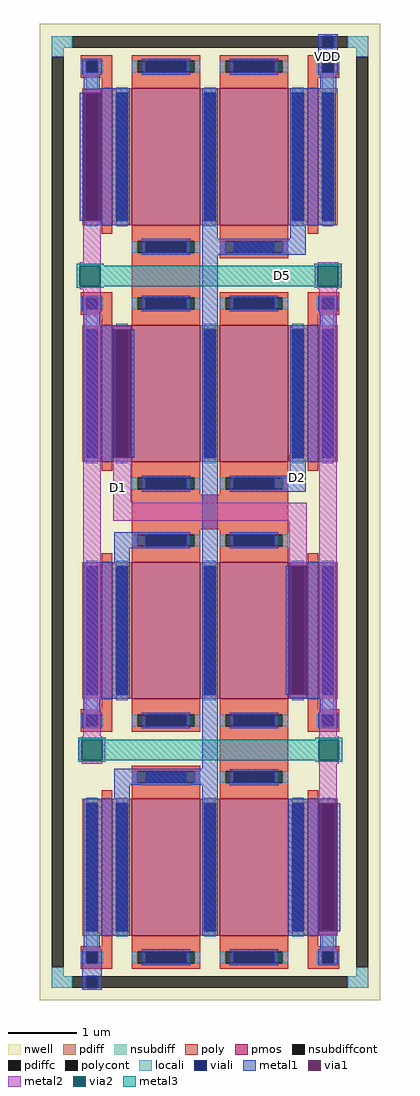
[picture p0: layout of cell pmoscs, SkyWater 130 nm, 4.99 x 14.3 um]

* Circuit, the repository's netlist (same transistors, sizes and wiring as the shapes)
** sch_path: /home/fauzann/opamp/mag/pmoscs.sch
.subckt pmoscs VDD D5 D2 D1
*.PININFO VDD:B D5:B D2:B D1:B
XM1 D1 D2 VDD VDD sky130_fd_pr__pfet_01v8 L=1 W=2 nf=1 m=2
XM2 D2 D2 VDD VDD sky130_fd_pr__pfet_01v8 L=1 W=2 nf=1 m=2
XM5 D5 D2 VDD VDD sky130_fd_pr__pfet_01v8 L=1 W=2 nf=1 m=2
XM3 VDD VDD VDD VDD sky130_fd_pr__pfet_01v8 L=1 W=2 nf=1 m=2
XM4 VDD VDD VDD VDD sky130_fd_pr__pfet_01v8 L=0.15 W=2 nf=1 m=2
XM6 D2 D2 D2 VDD sky130_fd_pr__pfet_01v8 L=0.15 W=2 nf=1 m=2
XM7 D1 D1 D1 VDD sky130_fd_pr__pfet_01v8 L=0.15 W=2 nf=1 m=2
XM8 D5 D5 D5 VDD sky130_fd_pr__pfet_01v8 L=0.15 W=2 nf=1 m=2
.ends
.end

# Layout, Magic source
magic
tech sky130A
magscale 1 2
<< nwell >>
rect -176 -690 822 2170
<< nsubdiff >>
rect -140 2100 -80 2134
rect 726 2100 786 2134
rect -140 2074 -106 2100
rect 752 2074 786 2100
rect -140 -620 -106 -594
rect 752 -620 786 -594
rect -140 -654 -80 -620
rect 726 -654 786 -620
<< nsubdiffcont >>
rect -80 2100 726 2134
rect -140 -594 -106 2074
rect 752 -594 786 2074
rect -80 -654 726 -620
<< poly >>
rect -56 2062 36 2078
rect -56 2028 -40 2062
rect -6 2028 36 2062
rect -56 2012 36 2028
rect 6 1981 36 2012
rect 610 2062 702 2078
rect 610 2028 652 2062
rect 686 2028 702 2062
rect 610 2012 702 2028
rect 610 2004 640 2012
rect -56 1368 36 1384
rect 94 1383 294 1485
rect -56 1334 -40 1368
rect -6 1334 36 1368
rect -56 1318 36 1334
rect 6 1287 36 1318
rect 610 1368 702 1384
rect 610 1334 652 1368
rect 686 1334 702 1368
rect 610 1318 702 1334
rect 610 1287 640 1318
rect 94 690 552 790
rect 6 162 36 193
rect -56 146 36 162
rect -56 112 -40 146
rect -6 112 36 146
rect -56 96 36 112
rect 610 162 640 193
rect 610 146 702 162
rect 610 112 652 146
rect 686 112 702 146
rect 610 96 702 112
rect 352 -4 552 96
rect 6 -532 36 -501
rect -56 -548 36 -532
rect -56 -582 -40 -548
rect -6 -582 36 -548
rect -56 -598 36 -582
rect 610 -532 640 -501
rect 610 -548 702 -532
rect 610 -582 652 -548
rect 686 -582 702 -548
rect 610 -598 702 -582
<< polycont >>
rect -40 2028 -6 2062
rect 652 2028 686 2062
rect -40 1334 -6 1368
rect 652 1334 686 1368
rect -40 112 -6 146
rect 652 112 686 146
rect -40 -582 -6 -548
rect 652 -582 686 -548
<< locali >>
rect -140 2100 -80 2134
rect 726 2100 786 2134
rect -140 2074 -106 2100
rect 752 2074 786 2100
rect -56 2028 -40 2062
rect -6 2028 10 2062
rect 636 2028 652 2062
rect 686 2028 702 2062
rect -40 1981 -6 2028
rect 652 1975 686 2028
rect -56 1334 -40 1368
rect -6 1334 10 1368
rect 636 1334 652 1368
rect 686 1334 702 1368
rect -40 1287 -6 1334
rect 652 1287 686 1334
rect -40 146 -6 193
rect 652 146 686 193
rect -56 112 -40 146
rect -6 112 10 146
rect 636 112 652 146
rect 686 112 702 146
rect -40 -548 -6 -501
rect 652 -548 686 -501
rect -56 -582 -40 -548
rect -6 -582 10 -548
rect 636 -582 652 -548
rect 686 -582 702 -548
rect -140 -620 -106 -594
rect 752 -620 786 -594
rect -140 -654 -80 -620
rect 726 -654 786 -620
<< viali >>
rect 652 2100 686 2134
rect -40 2028 -6 2062
rect 652 2028 686 2062
rect -40 1334 -6 1368
rect 652 1334 686 1368
rect -40 112 -6 146
rect 652 112 686 146
rect -40 -582 -6 -548
rect 652 -582 686 -548
rect -40 -654 -6 -620
<< metal1 >>
rect 640 2134 698 2140
rect 640 2100 652 2134
rect 686 2100 698 2134
rect -52 2062 6 2068
rect -52 2028 -40 2062
rect -6 2028 6 2062
rect -52 2022 6 2028
rect 640 2062 698 2100
rect 640 2028 652 2062
rect 686 2028 698 2062
rect 640 2022 698 2028
rect -47 1981 0 2022
rect 646 1981 693 2022
rect -47 1969 88 1981
rect -59 1593 -49 1969
rect 3 1593 88 1969
rect -46 1581 88 1593
rect 300 1540 346 1981
rect 558 1968 693 1981
rect 558 1581 692 1968
rect 558 1540 604 1581
rect 300 1494 604 1540
rect -52 1368 6 1374
rect -52 1334 -40 1368
rect -6 1334 6 1368
rect -52 1328 6 1334
rect -47 1287 0 1328
rect -40 1276 94 1287
rect -40 1275 101 1276
rect -40 899 39 1275
rect 91 899 101 1275
rect -40 887 94 899
rect 42 634 134 680
rect 42 593 88 634
rect -46 193 88 593
rect -47 152 0 193
rect -52 146 6 152
rect -52 112 -40 146
rect -6 112 6 146
rect -52 106 6 112
rect 300 -13 346 1494
rect 640 1368 698 1374
rect 640 1334 652 1368
rect 686 1334 698 1368
rect 640 1328 698 1334
rect 646 1287 693 1328
rect 558 911 692 1287
rect 557 887 692 911
rect 557 846 603 887
rect 515 800 603 846
rect 558 582 692 593
rect 545 205 555 582
rect 607 205 692 582
rect 558 193 692 205
rect 646 152 693 193
rect 640 146 698 152
rect 640 112 652 146
rect 686 112 698 146
rect 640 106 698 112
rect 42 -59 346 -13
rect 42 -101 88 -59
rect -47 -109 88 -101
rect -47 -110 87 -109
rect -47 -501 88 -110
rect 300 -501 346 -59
rect 552 -113 688 -101
rect 552 -489 643 -113
rect 695 -489 705 -113
rect 552 -501 693 -489
rect -47 -542 0 -501
rect 646 -542 693 -501
rect -52 -548 6 -542
rect -52 -582 -40 -548
rect -6 -582 6 -548
rect -52 -620 6 -582
rect 640 -548 698 -542
rect 640 -582 652 -548
rect 686 -582 698 -548
rect 640 -588 698 -582
rect -52 -654 -40 -620
rect -6 -654 6 -620
rect -52 -660 6 -654
<< via1 >>
rect -49 1593 3 1969
rect 39 899 91 1275
rect 555 205 607 582
rect 643 -489 695 -113
<< metal2 >>
rect -49 1969 3 1979
rect -49 1472 3 1593
rect -58 1462 3 1472
rect 639 1462 699 1472
rect 2 1402 3 1462
rect 630 1402 639 1462
rect 699 1402 708 1462
rect -58 1392 3 1402
rect 639 1392 699 1402
rect -49 83 3 1392
rect 39 1275 91 1285
rect 91 899 92 912
rect 39 889 92 899
rect 40 767 92 889
rect 40 715 607 767
rect 555 582 607 715
rect 555 195 607 205
rect 643 83 695 1392
rect -53 73 7 83
rect 641 73 701 83
rect -62 13 -53 73
rect 7 13 16 73
rect -53 3 7 13
rect 641 3 701 13
rect 643 -113 695 3
rect 643 -499 695 -489
<< via2 >>
rect -58 1402 2 1462
rect 639 1402 699 1462
rect -53 13 7 73
rect 641 13 701 73
<< metal3 >>
rect -68 1462 12 1467
rect 629 1462 709 1467
rect -68 1402 -58 1462
rect 2 1402 639 1462
rect 699 1402 709 1462
rect -68 1397 12 1402
rect 629 1397 709 1402
rect -63 73 17 78
rect 631 73 711 78
rect -63 13 -53 73
rect 7 13 641 73
rect 701 13 711 73
rect -63 8 17 13
rect 631 8 711 13
use sky130_fd_pr__pfet_01v8_2ZH9AN  sky130_fd_pr__pfet_01v8_2ZH9AN_0
transform 1 0 21 0 1 1087
box -109 -262 109 262
use sky130_fd_pr__pfet_01v8_2ZH9AN  sky130_fd_pr__pfet_01v8_2ZH9AN_1
transform 1 0 21 0 1 -301
box -109 -262 109 262
use sky130_fd_pr__pfet_01v8_2ZH9AN  sky130_fd_pr__pfet_01v8_2ZH9AN_2
transform 1 0 625 0 1 -301
box -109 -262 109 262
use sky130_fd_pr__pfet_01v8_2ZH9AN  sky130_fd_pr__pfet_01v8_2ZH9AN_3
transform 1 0 625 0 1 393
box -109 -262 109 262
use sky130_fd_pr__pfet_01v8_2ZH9AN  sky130_fd_pr__pfet_01v8_2ZH9AN_4
transform 1 0 21 0 1 393
box -109 -262 109 262
use sky130_fd_pr__pfet_01v8_2ZH9AN  sky130_fd_pr__pfet_01v8_2ZH9AN_5
transform 1 0 625 0 1 1087
box -109 -262 109 262
use sky130_fd_pr__pfet_01v8_2ZH9AN  sky130_fd_pr__pfet_01v8_2ZH9AN_6
transform 1 0 21 0 1 1781
box -109 -262 109 262
use sky130_fd_pr__pfet_01v8_2ZH9AN  sky130_fd_pr__pfet_01v8_2ZH9AN_7
transform 1 0 625 0 1 1781
box -109 -262 109 262
use sky130_fd_pr__pfet_01v8_SDE6B7  sky130_fd_pr__pfet_01v8_SDE6B7_0
transform 1 0 323 0 1 1781
box -323 -300 323 300
use sky130_fd_pr__pfet_01v8_SDE6B7  sky130_fd_pr__pfet_01v8_SDE6B7_1
transform 1 0 323 0 1 1087
box -323 -300 323 300
use sky130_fd_pr__pfet_01v8_SDE6B7  sky130_fd_pr__pfet_01v8_SDE6B7_2
transform 1 0 323 0 1 393
box -323 -300 323 300
use sky130_fd_pr__pfet_01v8_SDE6B7  sky130_fd_pr__pfet_01v8_SDE6B7_3
transform 1 0 323 0 1 -301
box -323 -300 323 300
<< labels >>
flabel metal1 s 666 2076 666 2076 0 FreeSans 1600 0 0 0 VDD
port 0 nsew
flabel metal2 s 56 812 56 812 0 FreeSans 1600 0 0 0 D1
port 1 nsew
flabel metal1 s 580 842 580 842 0 FreeSans 1600 0 0 0 D2
port 2 nsew
flabel metal3 s 534 1434 534 1434 0 FreeSans 1600 0 0 0 D5
port 3 nsew
<< end >>

# cell sky130_fd_pr__pfet_01v8_2ZH9AN: kit device sky130_fd_pr__pfet_01v8, w 2 l 0.15 m 1 nf 1 diffcov 100 polycov 100 guard 0 glc 1 grc 1 gtc 1 gbc 1 tbcov 100 rlcov 100 topc 0 botc 0 poverlap 0 doverlap 1 lmin 0.15 wmin 0.42 compatible {sky130_fd_pr__pfet_01v8 sky130_fd_pr__pfet_01v8_lvt sky130_fd_pr__pfet_01v8_hvt sky130_fd_pr__pfet_g5v0d10v5} full_metal 1 viasrc 100 viadrn 100 viagate 100 viagb 0 viagr 0 viagl 0 viagt 0

# cell sky130_fd_pr__pfet_01v8_SDE6B7: kit device sky130_fd_pr__pfet_01v8, w 2 l 1 m 1 nf 2 diffcov 100 polycov 100 guard 0 glc 1 grc 1 gtc 1 gbc 1 tbcov 100 rlcov 100 topc 1 botc 1 poverlap 0 doverlap 1 lmin 0.15 wmin 0.42 compatible {sky130_fd_pr__pfet_01v8 sky130_fd_pr__pfet_01v8_lvt sky130_fd_pr__pfet_01v8_hvt sky130_fd_pr__pfet_g5v0d10v5} full_metal 1 viasrc 100 viadrn 100 viagate 70 viagb 0 viagr 0 viagl 0 viagt 0
